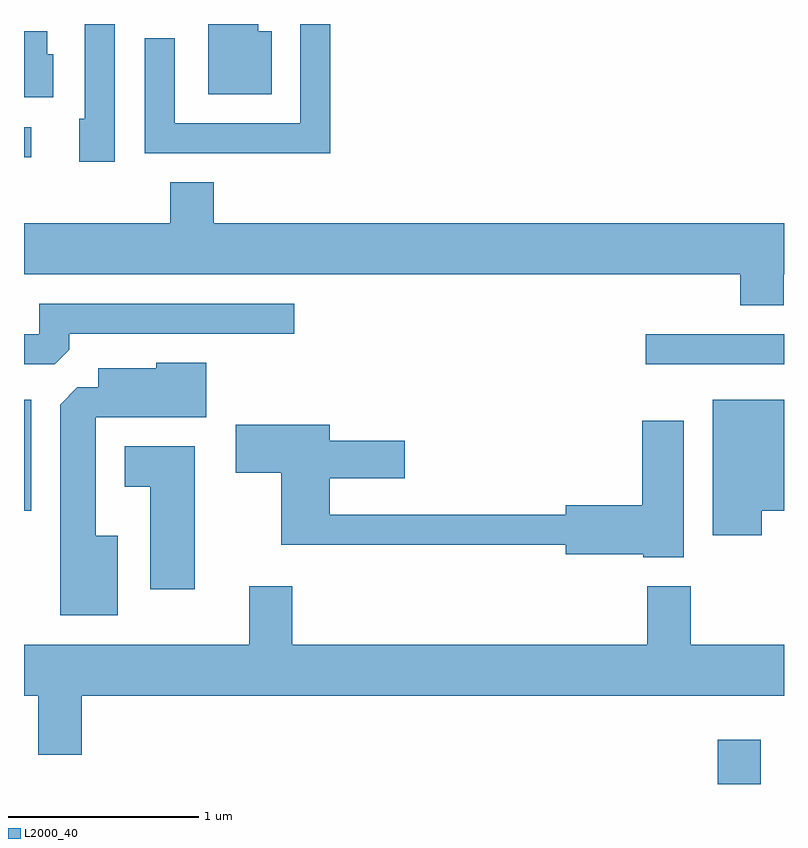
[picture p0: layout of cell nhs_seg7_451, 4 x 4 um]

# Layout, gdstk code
import gdstk
lib = gdstk.Library(unit=1e-6, precision=1e-09)
def R(c, l, rs):  # rectangles x0, y0, x1, y1
    for r in rs: c.add(gdstk.rectangle(r[:2], r[2:], *l))
def P(c, l, *ps):  # polygons
    for p in ps: c.add(gdstk.Polygon(p, *l))
L2000_40 = (2000, 40)

nhs_seg7_451 = lib.new_cell('nhs_seg7_451')
R(nhs_seg7_451, L2000_40, [(201.261,1758.252,201.489,1758.484), (197.611,1759.691,197.649,1760.274), (200.883,1760.461,201.611,1760.619), (197.611,1761.551,197.648,1761.709)])
P(nhs_seg7_451, L2000_40, [(198.914,1762.214),(198.844,1762.214),(198.844,1762.252),(198.581,1762.252),(198.581,1761.881),(198.914,1761.881)],
  [(199.224,1762.252),(199.066,1762.252),(199.066,1761.729),(198.404,1761.729),(198.404,1762.178),(198.246,1762.178),(198.246,1761.571),(199.224,1761.571)],
  [(198.089,1762.252),(197.931,1762.252),(197.931,1761.754),(197.901,1761.754),(197.901,1761.526),(198.089,1761.526)],
  [(197.764,1762.094),(197.734,1762.094),(197.734,1762.214),(197.611,1762.214),(197.611,1761.866),(197.764,1761.866)],
  [(201.609,1760.936),(201.611,1760.936),(201.611,1761.204),(198.609,1761.204),(198.609,1761.419),(198.381,1761.419),(198.381,1761.204),(197.611,1761.204),(197.611,1760.936),(201.381,1760.936),(201.381,1760.771),(201.609,1760.771)],
  [(197.849,1760.537),(197.849,1760.621),(199.033,1760.621),(199.033,1760.779),(197.691,1760.779),(197.691,1760.619),(197.611,1760.619),(197.611,1760.461),(197.774,1760.461)],
  [(198.104,1759.559),(197.989,1759.559),(197.989,1760.181),(198.569,1760.181),(198.569,1760.469),(198.306,1760.469),(198.306,1760.439),(198.001,1760.439),(198.001,1760.339),(197.892,1760.339),(197.801,1760.249),(197.801,1759.141),(198.104,1759.141)],
  [(201.494,1759.691),(201.611,1759.691),(201.611,1760.274),(201.236,1760.274),(201.236,1759.561),(201.494,1759.561)],
  [(201.084,1760.164),(200.866,1760.164),(200.866,1759.719),(200.461,1759.719),(200.461,1759.669),(199.219,1759.669),(199.219,1759.861),(199.614,1759.861),(199.614,1760.059),(199.219,1760.059),(199.219,1760.144),(198.726,1760.144),(198.726,1759.891),(198.966,1759.891),(198.966,1759.511),(200.461,1759.511),(200.461,1759.461),(200.87,1759.461),(200.87,1759.446),(201.084,1759.446)],
  [(198.509,1760.029),(198.141,1760.029),(198.141,1759.816),(198.276,1759.816),(198.276,1759.276),(198.509,1759.276)],
  [(197.914,1758.716),(201.611,1758.716),(201.611,1758.984),(201.119,1758.984),(201.119,1759.294),(200.891,1759.294),(200.891,1758.984),(199.024,1758.984),(199.024,1759.294),(198.796,1759.294),(198.796,1758.984),(197.611,1758.984),(197.611,1758.716),(197.686,1758.716),(197.686,1758.406),(197.914,1758.406)])

lib.write_gds('nhs_seg7_451.gds')
